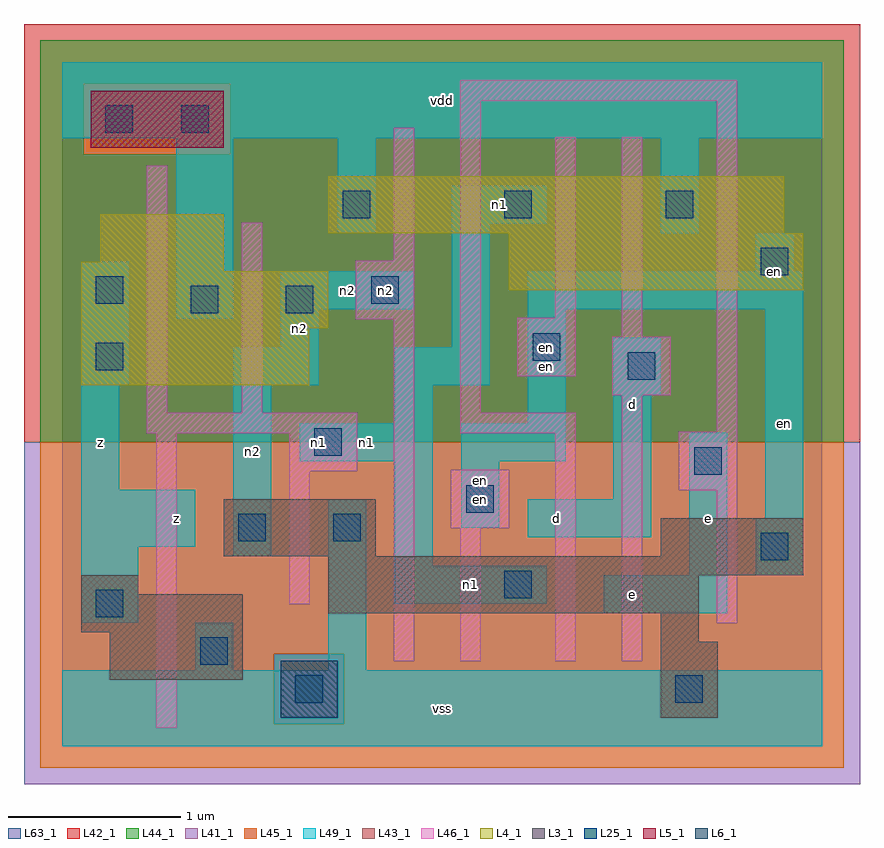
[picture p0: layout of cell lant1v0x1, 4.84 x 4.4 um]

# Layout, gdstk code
import gdstk
lib = gdstk.Library(unit=1e-6, precision=1e-09)
def R(c, l, rs):  # rectangles x0, y0, x1, y1
    for r in rs: c.add(gdstk.rectangle(r[:2], r[2:], *l))
def A(c, l, x, y, w, h, nx, ny, dx, dy):  # array of equal rectangles
    R(c, l, [(x+i*dx, y+j*dy, x+i*dx+w, y+j*dy+h) for i in range(nx) for j in range(ny)])
L3_1 = (3, 1)
L4_1 = (4, 1)
L5_1 = (5, 1)
L6_1 = (6, 1)
L25_1 = (25, 1)
L41_1 = (41, 1)
L42_1 = (42, 1)
L43_1 = (43, 1)
L44_1 = (44, 1)
L45_1 = (45, 1)
L46_1 = (46, 1)
L49_1 = (49, 1)
L63_1 = (63, 1)

lant1v0x1 = lib.new_cell('lant1v0x1')
R(lant1v0x1, L3_1, [(3.465,0.165,3.795,0.605), (0.275,0.385,1.045,0.66), (3.465,0.605,3.685,0.77), (0.11,0.66,1.045,0.88), (1.54,0.77,3.685,0.99), (0.11,0.88,0.44,0.99), (1.54,0.99,4.29,1.1), (0.935,1.1,1.815,1.43), (3.465,1.1,4.29,1.32)])
R(lant1v0x1, L4_1, [(0.11,2.09,1.43,2.42), (0.11,2.42,1.54,2.75), (2.585,2.64,4.29,2.97), (0.11,2.75,0.935,2.805), (0.22,2.805,0.935,3.08), (1.54,2.97,4.18,3.3)])
R(lant1v0x1, L5_1, [(0.165,3.465,0.935,3.795)])
R(lant1v0x1, L6_1, [(1.265,0.165,1.595,0.495)])
A(lant1v0x1, L25_1, 1.625, 3.055, 0.16, 0.16, 3, 1, 0.935, 0)
R(lant1v0x1, L25_1, [(1.35,0.25,1.51,0.41), (3.55,0.25,3.71,0.41), (0.8,0.47,0.96,0.63), (0.195,0.745,0.355,0.905), (2.56,0.855,2.72,1.015), (4.045,1.075,4.205,1.235), (1.02,1.185,1.18,1.345), (1.57,1.185,1.73,1.345), (2.34,1.35,2.5,1.51), (3.66,1.57,3.82,1.73), (1.46,1.68,1.62,1.84), (3.275,2.12,3.435,2.28), (0.195,2.175,0.355,2.335), (2.725,2.23,2.885,2.39), (0.745,2.505,0.905,2.665), (1.295,2.505,1.455,2.665), (0.195,2.56,0.355,2.72), (1.79,2.56,1.95,2.72), (4.045,2.725,4.205,2.885), (0.25,3.55,0.41,3.71), (0.69,3.55,0.85,3.71)])
R(lant1v0x1, L41_1, [(-0.22,-0.22,4.62,1.76)])
R(lant1v0x1, L42_1, [(-0.22,1.76,4.62,4.18)])
R(lant1v0x1, L43_1, [(1.265,0.165,1.595,0.495), (3.465,0.165,3.795,0.605), (0.275,0.385,1.045,0.66), (3.465,0.605,3.685,0.77), (0.11,0.66,1.045,0.88), (1.54,0.77,3.685,0.99), (0.11,0.88,0.44,0.99), (1.54,0.99,4.29,1.1), (0.935,1.1,1.815,1.43), (3.465,1.1,4.29,1.32), (0.11,2.09,1.43,2.42), (0.11,2.42,1.54,2.75), (2.585,2.64,4.29,2.97), (0.11,2.75,0.935,2.805), (0.22,2.805,0.935,3.08), (1.54,2.97,4.18,3.3), (0.165,3.465,0.935,3.795)])
R(lant1v0x1, L44_1, [(1.225,0.125,1.635,0.535), (-0.125,1.76,4.525,3.425), (-0.125,3.425,0.125,3.835), (0.975,3.425,4.525,3.835), (-0.125,3.835,4.525,4.085)])
R(lant1v0x1, L45_1, [(-0.125,-0.125,4.525,0.125), (-0.125,0.125,1.225,0.535), (1.635,0.125,4.525,0.535), (-0.125,0.535,4.525,1.76), (0.125,3.425,0.975,3.835)])
R(lant1v0x1, L46_1, [(0.545,0.105,0.665,1.81), (1.92,0.49,2.04,2.47), (2.305,0.49,2.425,1.26), (2.855,0.49,2.975,1.81), (3.24,0.49,3.36,2.03), (3.79,0.71,3.91,1.48), (1.315,0.82,1.435,1.59), (2.25,1.26,2.59,1.6), (3.57,1.48,3.91,1.82), (1.315,1.59,1.71,1.81), (0.49,1.81,1.71,1.93), (2.305,1.81,2.975,1.93), (3.79,1.82,3.91,3.735), (0.49,1.93,0.61,3.36), (1.04,1.93,1.16,3.03), (2.305,1.93,2.425,3.735), (3.185,2.03,3.525,2.37), (2.635,2.14,2.975,2.48), (3.24,2.37,3.36,3.525), (1.7,2.47,2.04,2.81), (2.855,2.48,2.975,3.525), (1.92,2.81,2.04,3.58), (2.305,3.735,3.91,3.855)])
R(lant1v0x1, L49_1, [(0,0,4.4,0.44), (0.77,0.44,0.99,0.715), (1.54,0.44,1.76,1.43), (0.11,0.715,0.44,1.155), (3.135,0.77,3.85,0.99), (1.925,0.825,2.805,1.045), (3.63,0.99,3.85,1.815), (4.015,0.99,4.29,1.32), (1.925,1.045,2.145,1.65), (0.99,1.1,1.21,2.09), (0.11,1.155,0.77,1.485), (2.695,1.21,3.41,1.43), (2.31,1.265,2.53,1.65), (4.07,1.32,4.29,2.53), (3.19,1.43,3.41,2.035), (0.11,1.485,0.33,2.09), (1.375,1.65,2.145,1.87), (2.31,1.65,2.915,1.87), (1.925,1.87,2.145,2.09), (2.695,1.87,2.915,2.53), (3.19,2.035,3.465,2.365), (0.11,2.09,0.385,2.805), (0.99,2.09,1.485,2.31), (1.925,2.09,2.475,2.31), (1.265,2.31,1.485,2.53), (2.255,2.31,2.475,3.025), (0.66,2.475,0.99,3.52), (1.265,2.53,2.035,2.75), (2.695,2.53,4.29,2.75), (4.015,2.75,4.235,2.97), (1.595,2.97,1.815,3.52), (3.465,2.97,3.685,3.52), (2.255,3.025,2.805,3.245), (0,3.52,4.4,3.96)])
R(lant1v0x1, L63_1, [(0,0,4.4,3.96)])
lant1v0x1.add(gdstk.Label('en', (2.42,1.43), layer=49, texttype=1))
lant1v0x1.add(gdstk.Label('n1', (1.485,1.76), layer=49, texttype=1))
lant1v0x1.add(gdstk.Label('n2', (1.87,2.64), layer=49, texttype=1))
lant1v0x1.add(gdstk.Label('en', (2.805,2.31), layer=49, texttype=1))
lant1v0x1.add(gdstk.Label('z', (0.22,1.76), layer=49, texttype=1))
lant1v0x1.add(gdstk.Label('z', (0.66,1.32), layer=49, texttype=1))
lant1v0x1.add(gdstk.Label('n1', (1.76,1.76), layer=49, texttype=1))
lant1v0x1.add(gdstk.Label('n2', (1.375,2.42), layer=49, texttype=1))
lant1v0x1.add(gdstk.Label('n2', (1.1,1.705), layer=49, texttype=1))
lant1v0x1.add(gdstk.Label('n2', (1.65,2.64), layer=49, texttype=1))
lant1v0x1.add(gdstk.Label('vss', (2.2,0.22), layer=49, texttype=1))
lant1v0x1.add(gdstk.Label('n1', (2.365,0.935), layer=49, texttype=1))
lant1v0x1.add(gdstk.Label('en', (2.42,1.54), layer=49, texttype=1))
lant1v0x1.add(gdstk.Label('d', (2.86,1.32), layer=49, texttype=1))
lant1v0x1.add(gdstk.Label('en', (2.805,2.2), layer=49, texttype=1))
lant1v0x1.add(gdstk.Label('n1', (2.53,3.135), layer=49, texttype=1))
lant1v0x1.add(gdstk.Label('vdd', (2.2,3.74), layer=49, texttype=1))
lant1v0x1.add(gdstk.Label('e', (3.3,0.88), layer=49, texttype=1))
lant1v0x1.add(gdstk.Label('e', (3.74,1.32), layer=49, texttype=1))
lant1v0x1.add(gdstk.Label('d', (3.3,1.98), layer=49, texttype=1))
lant1v0x1.add(gdstk.Label('en', (4.18,1.87), layer=49, texttype=1))
lant1v0x1.add(gdstk.Label('en', (4.125,2.75), layer=49, texttype=1))

lib.write_gds('lant1v0x1.gds')
